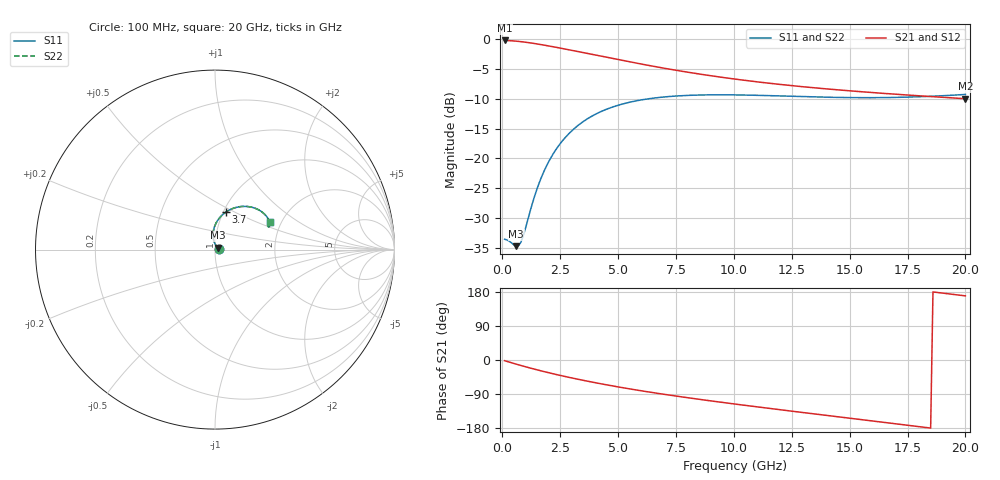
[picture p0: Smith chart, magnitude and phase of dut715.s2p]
! Touchstone file exported from HFSS 2024.1.0
!  File:  C:/UserFiles/LocalFiles/RDL_TSV_Batchsim/temp_RDL_TSV_715_1779889038.aedt
!  Generated:  09:50:22 PM May 27, 2026
!  Design:  RDL_TSV
!  Project:  temp_RDL_TSV_715_1779889038
!  Setup:  Setup1
!  Solution:  Sweep
! Variables:
!  dtsv = 11.47um
!  hbump = 3um
!  htsv = 87.39um
!  ldown = 503.37um
!  lrdl = 218.28um
!  p = 40
!  p1 = 55.04um
!  rhole = 10um
!  subl = 2383.23um
!  t = 450um
!  tdown = 3.32um
!  trdl = 2.96um
!  viad = 10um
!  wdown = 11.13um
!  wrdl = 16.05um
!  xbump = 18um
# GHz S MA R 50.000000
! Terminal data exported
! Port[1] = TM1_1_T1
! Port[2] = TM1_4_T1
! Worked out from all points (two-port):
!   200 points, 100 MHz to 20 GHz, reference 50 ohm
!   highest |S21| = -0.19 dB at 100 MHz (marker M1); lowest = -10.0 dB at 20 GHz (marker M2)
!   |S21| within 3 dB of the highest: start of sweep to 4.727 GHz
!   lowest |S11| = -34.8 dB at 600 MHz (marker M3), VSWR 1.04, Z = 51.4 + j1.16 ohm
!   |S11| at or under -10 dB: start of sweep to 6.295 GHz
!   |S22| runs from -34.8 to -9.3 dB; largest |S21 - S12| = 3.2e-14
!   S11 on the Smith chart (normalised r, x): 100 MHz: 1.04, +0.00; 3.7 GHz: 1.03, +0.45; 20 GHz: 1.76, +0.61
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0.1  0.02092 4.6  0.9785 -1.9  0.9785 -1.9  0.02092 4.6
! Gamma 0 0 0 0
! Port Impedance 50 0 50 0
0.6  0.0183 38.1  0.9655 -10.9  0.9655 -10.9  0.0183 38.1
0.7  0.01849 49.6  0.9613 -12.7  0.9613 -12.7  0.01849 49.6
0.8  0.01971 61.8  0.9566 -14.4  0.9566 -14.4  0.01971 61.8
0.9  0.02215 72.9  0.9516 -16.1  0.9516 -16.1  0.02215 72.8
1.3  0.0419 95.6  0.9282 -22.8  0.9282 -22.8  0.04189 95.6
1.5  0.0554 98.4  0.9151 -26.0  0.9151 -26.0  0.05539 98.3
1.7  0.07014 98.5  0.9015 -29.0  0.9015 -29.0  0.07012 98.5
2  0.09346 96.5  0.8803 -33.5  0.8803 -33.5  0.09344 96.4
2.3  0.1172 93.0  0.8587 -37.9  0.8587 -37.9  0.1172 93.0
2.7  0.1482 87.7  0.8299 -43.4  0.8299 -43.4  0.1482 87.6
3.5  0.2041 76.7  0.7733 -53.7  0.7733 -53.7  0.204 76.7
3.7  0.2164 74.1  0.7596 -56.2  0.7596 -56.2  0.2163 74.1
5  0.2793 59.2  0.6761 -71.0  0.6761 -71.0  0.2792 59.1
5.9  0.3072 50.9  0.6253 -80.3  0.6253 -80.3  0.3071 50.9
6.8  0.3253 44.1  0.5805 -88.9  0.5805 -88.9  0.3251 44.0
8.3  0.3397 35.4  0.5187 -102.1  0.5187 -102.1  0.3395 35.3
10.1  0.3413 28.4  0.4621 -116.7  0.4621 -116.7  0.3411 28.4
11.7  0.3359 24.8  0.4241 -129.0  0.4241 -129.0  0.3356 24.8
13.4  0.3286 23.1  0.3928 -141.7  0.3928 -141.7  0.3283 23.1
16.7  0.3244 24.0  0.3489 -166.2  0.3489 -166.2  0.3241 24.0
20  0.3443 26.4  0.3171 169.2  0.3171 169.2  0.344 26.4
